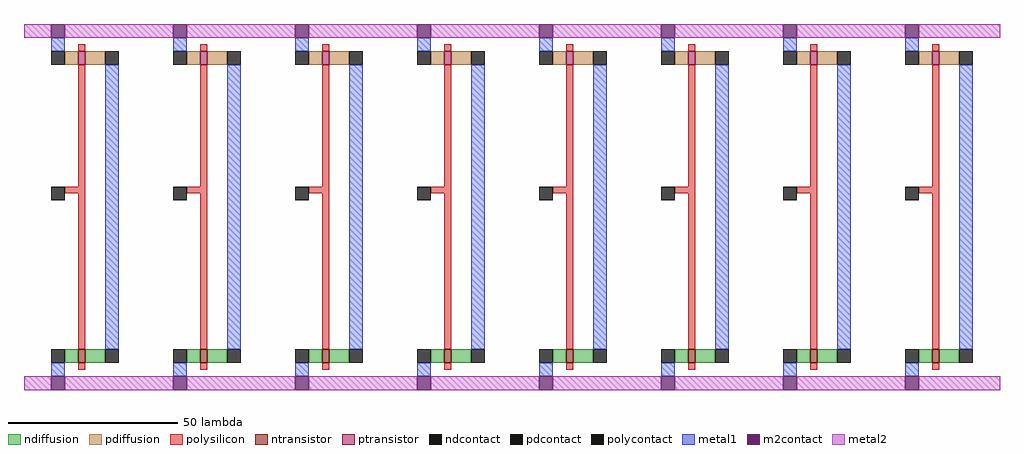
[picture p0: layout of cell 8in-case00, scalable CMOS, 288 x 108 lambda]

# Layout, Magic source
magic
tech scmos
use inverter  inverter_0
transform 1 0 0 0 1 0
box 0 0 36 108
use inverter  inverter_1
transform 1 0 36 0 1 0
box 0 0 36 108
use inverter  inverter_2
transform 1 0 72 0 1 0
box 0 0 36 108
use inverter  inverter_3
transform 1 0 108 0 1 0
box 0 0 36 108
use inverter  inverter_4
transform 1 0 144 0 1 0
box 0 0 36 108
use inverter  inverter_5
transform 1 0 180 0 1 0
box 0 0 36 108
use inverter  inverter_6
transform 1 0 216 0 1 0
box 0 0 36 108
use inverter  inverter_7
transform 1 0 252 0 1 0
box 0 0 36 108
<< end >>

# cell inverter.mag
magic
tech scmos
<< polysilicon >>
rect 16 100 18 102
rect 16 60 18 96
rect 12 58 18 60
rect 16 12 18 58
rect 16 6 18 8
<< ndiffusion >>
rect 12 8 16 12
rect 18 8 24 12
<< pdiffusion >>
rect 12 96 16 100
rect 18 96 24 100
<< metal1 >>
rect 8 100 12 104
rect 24 12 28 96
rect 8 4 12 8
<< metal2 >>
rect 0 104 8 108
rect 12 104 36 108
rect 0 0 8 4
rect 12 0 36 4
<< ntransistor >>
rect 16 8 18 12
<< ptransistor >>
rect 16 96 18 100
<< polycontact >>
rect 8 56 12 60
<< ndcontact >>
rect 8 8 12 12
rect 24 8 28 12
<< pdcontact >>
rect 8 96 12 100
rect 24 96 28 100
<< m2contact >>
rect 8 104 12 108
rect 8 0 12 4
<< end >>
